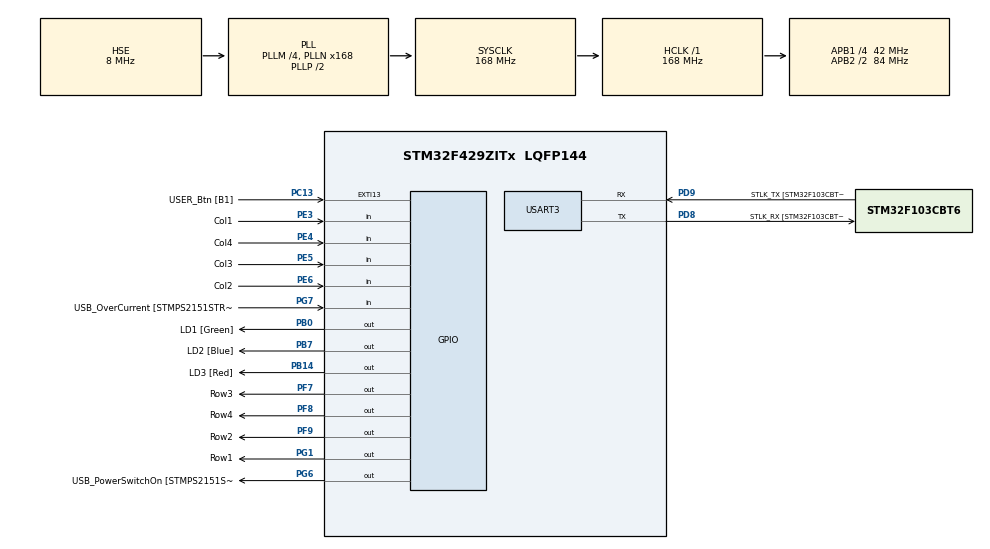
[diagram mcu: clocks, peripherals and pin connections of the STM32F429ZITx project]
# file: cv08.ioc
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Mcu.Family=STM32F4
Mcu.Name=STM32F429ZITx
Mcu.Package=LQFP144
NVIC.PriorityGroup=NVIC_PRIORITYGROUP_4
NVIC.TIM3_IRQn=true\:0\:0\:false\:false\:true\:true\:true\:true
PA1.GPIO_Label=RMII_REF_CLK [LAN8742A-CZ-TR_REFCLK0]
PA1.Signal=ETH_REF_CLK
PA10.GPIO_Label=USB_ID
PA10.Signal=USB_OTG_FS_ID
PA11.GPIO_Label=USB_DM
PA11.Signal=USB_OTG_FS_DM
PA12.GPIO_Label=USB_DP
PA12.Signal=USB_OTG_FS_DP
PA13.GPIO_Label=TMS
PA13.Mode=Serial_Wire
PA13.Signal=SYS_JTMS-SWDIO
PA14.GPIO_Label=TCK
PA14.Mode=Serial_Wire
PA14.Signal=SYS_JTCK-SWCLK
PA2.GPIO_Label=RMII_MDIO [LAN8742A-CZ-TR_MDIO]
PA2.Signal=ETH_MDIO
PA7.GPIO_Label=RMII_CRS_DV [LAN8742A-CZ-TR_CRS_DV]
PA7.Signal=ETH_CRS_DV
PA8.GPIO_Label=USB_SOF [TP1]
PA8.Signal=USB_OTG_FS_SOF
PA9.GPIO_Label=USB_VBUS
PA9.Signal=USB_OTG_FS_VBUS
PB0.GPIO_Label=LD1 [Green]
PB0.GPIO_ModeDefaultOutputPP=GPIO_MODE_OUTPUT_PP
PB0.GPIO_PuPd=GPIO_NOPULL
PB0.Signal=GPIO_Output
PB13.GPIO_Label=RMII_TXD1 [LAN8742A-CZ-TR_TXD1]
PB13.Signal=ETH_TXD1
PB14.GPIO_Label=LD3 [Red]
PB14.Signal=GPIO_Output
PB7.GPIO_Label=LD2 [Blue]
PB7.Signal=GPIO_Output
PC1.GPIO_Label=RMII_MDC [LAN8742A-CZ-TR_MDC]
PC1.Signal=ETH_MDC
PC13.GPIO_Label=USER_Btn [B1]
PC13.Signal=GPXTI13
PC14/OSC32_IN.Mode=LSE-External-Oscillator
PC14/OSC32_IN.Signal=RCC_OSC32_IN
PC15/OSC32_OUT.Mode=LSE-External-Oscillator
PC15/OSC32_OUT.Signal=RCC_OSC32_OUT
PC4.GPIO_Label=RMII_RXD0 [LAN8742A-CZ-TR_RXD0]
PC4.Signal=ETH_RXD0
PC5.GPIO_Label=RMII_RXD1 [LAN8742A-CZ-TR_RXD1]
PC5.Signal=ETH_RXD1
PD8.GPIO_Label=STLK_RX [STM32F103CBT6_PA3]
PD8.Mode=Asynchronous
PD8.Signal=USART3_TX
PD9.GPIO_Label=STLK_TX [STM32F103CBT6_PA2]
PD9.Mode=Asynchronous
PD9.Signal=USART3_RX
PE3.GPIO_Label=Col1
PE3.GPIO_PuPd=GPIO_PULLUP
PE3.Signal=GPIO_Input
PE4.GPIO_Label=Col4
PE4.GPIO_PuPd=GPIO_PULLUP
PE4.Signal=GPIO_Input
PE5.GPIO_Label=Col3
PE5.GPIO_PuPd=GPIO_PULLUP
PE5.Signal=GPIO_Input
PE6.GPIO_Label=Col2
PE6.GPIO_PuPd=GPIO_PULLUP
PE6.Signal=GPIO_Input
PF7.GPIO_Label=Row3
PF7.GPIO_ModeDefaultOutputPP=GPIO_MODE_OUTPUT_OD
PF7.GPIO_PuPd=GPIO_NOPULL
PF7.Signal=GPIO_Output
PF8.GPIO_Label=Row4
PF8.GPIO_ModeDefaultOutputPP=GPIO_MODE_OUTPUT_OD
PF8.GPIO_PuPd=GPIO_NOPULL
PF8.Signal=GPIO_Output
PF9.GPIO_Label=Row2
PF9.GPIO_ModeDefaultOutputPP=GPIO_MODE_OUTPUT_OD
PF9.GPIO_PuPd=GPIO_NOPULL
PF9.Signal=GPIO_Output
PG1.GPIO_Label=Row1
PG1.GPIO_ModeDefaultOutputPP=GPIO_MODE_OUTPUT_OD
PG1.GPIO_PuPd=GPIO_NOPULL
PG1.Signal=GPIO_Output
PG11.GPIO_Label=RMII_TX_EN [LAN8742A-CZ-TR_TXEN]
PG11.Signal=ETH_TX_EN
PG13.GPIO_Label=RMII_TXD0 [LAN8742A-CZ-TR_TXD0]
PG13.Signal=ETH_TXD0
PG6.GPIO_Label=USB_PowerSwitchOn [STMPS2151STR_EN]
PG6.Signal=GPIO_Output
PG7.GPIO_Label=USB_OverCurrent [STMPS2151STR_FAULT]
PG7.Signal=GPIO_Input
PH0/OSC_IN.GPIO_Label=MCO [STM32F103CBT6_PA8]
PH0/OSC_IN.Mode=HSE-External-Clock-Source
PH0/OSC_IN.Signal=RCC_OSC_IN
PH1/OSC_OUT.Mode=HSE-External-Clock-Source
PH1/OSC_OUT.Signal=RCC_OSC_OUT
ProjectManager.HeapSize=0x200
ProjectManager.StackSize=0x400
ProjectManager.TargetToolchain=STM32CubeIDE
RCC.48MHZClocksFreq_Value=48000000
RCC.AHBFreq_Value=168000000
RCC.APB1CLKDivider=RCC_HCLK_DIV4
RCC.APB1Freq_Value=42000000
RCC.APB1TimFreq_Value=84000000
RCC.APB2CLKDivider=RCC_HCLK_DIV2
RCC.APB2Freq_Value=84000000
RCC.APB2TimCLKDivider=2
RCC.APB2TimFreq_Value=168000000
RCC.CortexFreq_Value=168000000
RCC.HCLKFreq_Value=168000000
RCC.HSE_VALUE=8000000
RCC.HSI_VALUE=16000000
RCC.PLLM=4
RCC.PLLMUL=RCC_PLL_MUL9
RCC.PLLN=168
RCC.PLLQ=7
RCC.PLLSourceVirtual=RCC_PLLSOURCE_HSE
RCC.PRESCALERUSB=RCC_USBCLKSOURCE_PLL_DIV1_5
RCC.SYSCLKFreq_VALUE=168000000
RCC.SYSCLKSource=RCC_SYSCLKSOURCE_PLLCLK
RCC.SYSCLKSourceVirtual=RCC_SYSCLKSOURCE_PLLCLK
RCC.USBFreq_Value=48000000
RCC.VCOOutputFreq_Value=336000000
TIM3.AutoReloadPreload=TIM_AUTORELOAD_PRELOAD_ENABLE
TIM3.Period=99
TIM3.Prescaler=8399
USART3.VirtualMode=VM_ASYNC
VP_TIM3_VS_ClockSourceINT.Mode=Internal
board=NUCLEO-F429ZI

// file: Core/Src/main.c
/* USER CODE BEGIN Header */
/**
 ******************************************************************************
 * @file           : main.c
 * @brief          : Main program body
 ******************************************************************************
 * @attention
 *
 * Copyright (c) 2025 STMicroelectronics.
 * All rights reserved.
 *
 * This software is licensed under terms that can be found in the LICENSE file
 * in the root directory of this software component.
 * If no LICENSE file comes with this software, it is provided AS-IS.
 *
 ******************************************************************************
 */
/* USER CODE END Header */
#include "main.h"

/* USER CODE BEGIN Includes */
#include <stdio.h>
/* USER CODE END Includes */

TIM_HandleTypeDef htim3;

UART_HandleTypeDef huart3;

/* USER CODE BEGIN PV */
static volatile char key;
const char code[] = { '7', '9', '3', '2', '#'};
typedef enum  {
	INCORRECT = 0,
	CORRECT_KEY = 1,
	CORRECT_CODE = 2,
	TIMEOUT = 3
} CheckStatus_t;
/* USER CODE END PV */

void SystemClock_Config(void);
static void MX_GPIO_Init(void);
static void MX_USART3_UART_Init(void);
static void MX_TIM3_Init(void);

/* USER CODE BEGIN 0 */

int __io_putchar(int ch)
{
	ITM_SendChar(ch);
	return 0;
}

CheckStatus_t CodeCheck(char key)
{
	static int position = 0;
	static uint32_t timePressed;

	if(code[position] == key)
	{
		if ((position > 0) && ((HAL_GetTick()-timePressed) > 3000))
		{
			position = 0;
			return TIMEOUT;
		}
		else if(position == 4) //CODE OK
		{
			position = 0;
			return CORRECT_CODE;
		}
		else //KEY OK
		{
			position++;
			timePressed = HAL_GetTick();
			return CORRECT_KEY;
		}
	}
	else //NOT OK
	{
		position = 0;
		return INCORRECT;
	}
}

void Correct(void)
{
	HAL_GPIO_WritePin(LD1_GPIO_Port, LD1_Pin, GPIO_PIN_SET);
	HAL_Delay(1000);
	HAL_GPIO_WritePin(LD1_GPIO_Port, LD1_Pin, GPIO_PIN_RESET);
}

/* USER CODE END 0 */

int main(void)
{

	/* MCU Configuration--------------------------------------------------------*/

	/* Reset of all peripherals, Initializes the Flash interface and the Systick. */
	HAL_Init();

	/* Configure the system clock */
	SystemClock_Config();

	/* Initialize all configured peripherals */
	MX_GPIO_Init();
	MX_USART3_UART_Init();
	MX_TIM3_Init();
	/* USER CODE BEGIN 2 */
	HAL_TIM_Base_Start_IT(&htim3);

	CheckStatus_t value;

	/* USER CODE END 2 */

	/* Infinite loop */
	while (1)
	{

		/* USER CODE BEGIN 3 */

		if (key != 0) {
			printf("pressed '%c'\n", key);
			value = CodeCheck(key);
			switch (value)
			{
			case INCORRECT:
				printf("WRONG!!!\n");

				break;
			case CORRECT_KEY:
				printf("ok :)\n");
				break;
			case CORRECT_CODE:
				printf("code correct\n");
				Correct();
				break;
			case TIMEOUT:
				printf("Timed out, repeat.\n");
				break;
			}

			HAL_Delay(500);
			key = 0;
		}
	}
	/* USER CODE END 3 */
}

void SystemClock_Config(void)
{
	RCC_OscInitTypeDef RCC_OscInitStruct = {0};
	RCC_ClkInitTypeDef RCC_ClkInitStruct = {0};

	/** Configure the main internal regulator output voltage
	 */
	__HAL_RCC_PWR_CLK_ENABLE();
	__HAL_PWR_VOLTAGESCALING_CONFIG(PWR_REGULATOR_VOLTAGE_SCALE1);

	/** Initializes the RCC Oscillators according to the specified parameters
	 * in the RCC_OscInitTypeDef structure.
	 */
	RCC_OscInitStruct.OscillatorType = RCC_OSCILLATORTYPE_HSE;
	RCC_OscInitStruct.HSEState = RCC_HSE_BYPASS;
	RCC_OscInitStruct.PLL.PLLState = RCC_PLL_ON;
	RCC_OscInitStruct.PLL.PLLSource = RCC_PLLSOURCE_HSE;
	RCC_OscInitStruct.PLL.PLLM = 4;
	RCC_OscInitStruct.PLL.PLLN = 168;
	RCC_OscInitStruct.PLL.PLLP = RCC_PLLP_DIV2;
	RCC_OscInitStruct.PLL.PLLQ = 7;
	if (HAL_RCC_OscConfig(&RCC_OscInitStruct) != HAL_OK)
	{
		Error_Handler();
	}

	/** Initializes the CPU, AHB and APB buses clocks
	 */
	RCC_ClkInitStruct.ClockType = RCC_CLOCKTYPE_HCLK|RCC_CLOCKTYPE_SYSCLK
			|RCC_CLOCKTYPE_PCLK1|RCC_CLOCKTYPE_PCLK2;
	RCC_ClkInitStruct.SYSCLKSource = RCC_SYSCLKSOURCE_PLLCLK;
	RCC_ClkInitStruct.AHBCLKDivider = RCC_SYSCLK_DIV1;
	RCC_ClkInitStruct.APB1CLKDivider = RCC_HCLK_DIV4;
	RCC_ClkInitStruct.APB2CLKDivider = RCC_HCLK_DIV2;

	if (HAL_RCC_ClockConfig(&RCC_ClkInitStruct, FLASH_LATENCY_5) != HAL_OK)
	{
		Error_Handler();
	}
}

static void MX_TIM3_Init(void)
{

	TIM_ClockConfigTypeDef sClockSourceConfig = {0};
	TIM_MasterConfigTypeDef sMasterConfig = {0};

	htim3.Instance = TIM3;
	htim3.Init.Prescaler = 8399;
	htim3.Init.CounterMode = TIM_COUNTERMODE_UP;
	htim3.Init.Period = 99;
	htim3.Init.ClockDivision = TIM_CLOCKDIVISION_DIV1;
	htim3.Init.AutoReloadPreload = TIM_AUTORELOAD_PRELOAD_ENABLE;
	if (HAL_TIM_Base_Init(&htim3) != HAL_OK)
	{
		Error_Handler();
	}
	sClockSourceConfig.ClockSource = TIM_CLOCKSOURCE_INTERNAL;
	if (HAL_TIM_ConfigClockSource(&htim3, &sClockSourceConfig) != HAL_OK)
	{
		Error_Handler();
	}
	sMasterConfig.MasterOutputTrigger = TIM_TRGO_RESET;
	sMasterConfig.MasterSlaveMode = TIM_MASTERSLAVEMODE_DISABLE;
	if (HAL_TIMEx_MasterConfigSynchronization(&htim3, &sMasterConfig) != HAL_OK)
	{
		Error_Handler();
	}

}

static void MX_USART3_UART_Init(void)
{

	huart3.Instance = USART3;
	huart3.Init.BaudRate = 115200;
	huart3.Init.WordLength = UART_WORDLENGTH_8B;
	huart3.Init.StopBits = UART_STOPBITS_1;
	huart3.Init.Parity = UART_PARITY_NONE;
	huart3.Init.Mode = UART_MODE_TX_RX;
	huart3.Init.HwFlowCtl = UART_HWCONTROL_NONE;
	huart3.Init.OverSampling = UART_OVERSAMPLING_16;
	if (HAL_UART_Init(&huart3) != HAL_OK)
	{
		Error_Handler();
	}

}

static void MX_GPIO_Init(void)
{
	GPIO_InitTypeDef GPIO_InitStruct = {0};

	/* GPIO Ports Clock Enable */
	__HAL_RCC_GPIOE_CLK_ENABLE();
	__HAL_RCC_GPIOC_CLK_ENABLE();
	__HAL_RCC_GPIOF_CLK_ENABLE();
	__HAL_RCC_GPIOH_CLK_ENABLE();
	__HAL_RCC_GPIOA_CLK_ENABLE();
	__HAL_RCC_GPIOB_CLK_ENABLE();
	__HAL_RCC_GPIOG_CLK_ENABLE();
	__HAL_RCC_GPIOD_CLK_ENABLE();

	/*Configure GPIO pin Output Level */
	HAL_GPIO_WritePin(GPIOF, Row3_Pin|Row4_Pin|Row2_Pin, GPIO_PIN_RESET);

	/*Configure GPIO pin Output Level */
	HAL_GPIO_WritePin(GPIOB, LD1_Pin|LD3_Pin|LD2_Pin, GPIO_PIN_RESET);

	/*Configure GPIO pin Output Level */
	HAL_GPIO_WritePin(GPIOG, Row1_Pin|USB_PowerSwitchOn_Pin, GPIO_PIN_RESET);

	/*Configure GPIO pins : Col1_Pin Col4_Pin Col3_Pin Col2_Pin */
	GPIO_InitStruct.Pin = Col1_Pin|Col4_Pin|Col3_Pin|Col2_Pin;
	GPIO_InitStruct.Mode = GPIO_MODE_INPUT;
	GPIO_InitStruct.Pull = GPIO_PULLUP;
	HAL_GPIO_Init(GPIOE, &GPIO_InitStruct);

	/*Configure GPIO pin : USER_Btn_Pin */
	GPIO_InitStruct.Pin = USER_Btn_Pin;
	GPIO_InitStruct.Mode = GPIO_MODE_IT_RISING;
	GPIO_InitStruct.Pull = GPIO_NOPULL;
	HAL_GPIO_Init(USER_Btn_GPIO_Port, &GPIO_InitStruct);

	/*Configure GPIO pins : Row3_Pin Row4_Pin Row2_Pin */
	GPIO_InitStruct.Pin = Row3_Pin|Row4_Pin|Row2_Pin;
	GPIO_InitStruct.Mode = GPIO_MODE_OUTPUT_OD;
	GPIO_InitStruct.Pull = GPIO_NOPULL;
	GPIO_InitStruct.Speed = GPIO_SPEED_FREQ_LOW;
	HAL_GPIO_Init(GPIOF, &GPIO_InitStruct);

	/*Configure GPIO pins : RMII_MDC_Pin RMII_RXD0_Pin RMII_RXD1_Pin */
	GPIO_InitStruct.Pin = RMII_MDC_Pin|RMII_RXD0_Pin|RMII_RXD1_Pin;
	GPIO_InitStruct.Mode = GPIO_MODE_AF_PP;
	GPIO_InitStruct.Pull = GPIO_NOPULL;
	GPIO_InitStruct.Speed = GPIO_SPEED_FREQ_VERY_HIGH;
	GPIO_InitStruct.Alternate = GPIO_AF11_ETH;
	HAL_GPIO_Init(GPIOC, &GPIO_InitStruct);

	/*Configure GPIO pins : RMII_REF_CLK_Pin RMII_MDIO_Pin RMII_CRS_DV_Pin */
	GPIO_InitStruct.Pin = RMII_REF_CLK_Pin|RMII_MDIO_Pin|RMII_CRS_DV_Pin;
	GPIO_InitStruct.Mode = GPIO_MODE_AF_PP;
	GPIO_InitStruct.Pull = GPIO_NOPULL;
	GPIO_InitStruct.Speed = GPIO_SPEED_FREQ_VERY_HIGH;
	GPIO_InitStruct.Alternate = GPIO_AF11_ETH;
	HAL_GPIO_Init(GPIOA, &GPIO_InitStruct);

	/*Configure GPIO pins : LD1_Pin LD3_Pin LD2_Pin */
	GPIO_InitStruct.Pin = LD1_Pin|LD3_Pin|LD2_Pin;
	GPIO_InitStruct.Mode = GPIO_MODE_OUTPUT_PP;
	GPIO_InitStruct.Pull = GPIO_NOPULL;
	GPIO_InitStruct.Speed = GPIO_SPEED_FREQ_LOW;
	HAL_GPIO_Init(GPIOB, &GPIO_InitStruct);

	/*Configure GPIO pin : Row1_Pin */
	GPIO_InitStruct.Pin = Row1_Pin;
	GPIO_InitStruct.Mode = GPIO_MODE_OUTPUT_OD;
	GPIO_InitStruct.Pull = GPIO_NOPULL;
	GPIO_InitStruct.Speed = GPIO_SPEED_FREQ_LOW;
	HAL_GPIO_Init(Row1_GPIO_Port, &GPIO_InitStruct);

	/*Configure GPIO pin : RMII_TXD1_Pin */
	GPIO_InitStruct.Pin = RMII_TXD1_Pin;
	GPIO_InitStruct.Mode = GPIO_MODE_AF_PP;
	GPIO_InitStruct.Pull = GPIO_NOPULL;
	GPIO_InitStruct.Speed = GPIO_SPEED_FREQ_VERY_HIGH;
	GPIO_InitStruct.Alternate = GPIO_AF11_ETH;
	HAL_GPIO_Init(RMII_TXD1_GPIO_Port, &GPIO_InitStruct);

	/*Configure GPIO pin : USB_PowerSwitchOn_Pin */
	GPIO_InitStruct.Pin = USB_PowerSwitchOn_Pin;
	GPIO_InitStruct.Mode = GPIO_MODE_OUTPUT_PP;
	GPIO_InitStruct.Pull = GPIO_NOPULL;
	GPIO_InitStruct.Speed = GPIO_SPEED_FREQ_LOW;
	HAL_GPIO_Init(USB_PowerSwitchOn_GPIO_Port, &GPIO_InitStruct);

	/*Configure GPIO pin : USB_OverCurrent_Pin */
	GPIO_InitStruct.Pin = USB_OverCurrent_Pin;
	GPIO_InitStruct.Mode = GPIO_MODE_INPUT;
	GPIO_InitStruct.Pull = GPIO_NOPULL;
	HAL_GPIO_Init(USB_OverCurrent_GPIO_Port, &GPIO_InitStruct);

	/*Configure GPIO pins : USB_SOF_Pin USB_ID_Pin USB_DM_Pin USB_DP_Pin */
	GPIO_InitStruct.Pin = USB_SOF_Pin|USB_ID_Pin|USB_DM_Pin|USB_DP_Pin;
	GPIO_InitStruct.Mode = GPIO_MODE_AF_PP;
	GPIO_InitStruct.Pull = GPIO_NOPULL;
	GPIO_InitStruct.Speed = GPIO_SPEED_FREQ_VERY_HIGH;
	GPIO_InitStruct.Alternate = GPIO_AF10_OTG_FS;
	HAL_GPIO_Init(GPIOA, &GPIO_InitStruct);

	/*Configure GPIO pin : USB_VBUS_Pin */
	GPIO_InitStruct.Pin = USB_VBUS_Pin;
	GPIO_InitStruct.Mode = GPIO_MODE_INPUT;
	GPIO_InitStruct.Pull = GPIO_NOPULL;
	HAL_GPIO_Init(USB_VBUS_GPIO_Port, &GPIO_InitStruct);

	/*Configure GPIO pins : RMII_TX_EN_Pin RMII_TXD0_Pin */
	GPIO_InitStruct.Pin = RMII_TX_EN_Pin|RMII_TXD0_Pin;
	GPIO_InitStruct.Mode = GPIO_MODE_AF_PP;
	GPIO_InitStruct.Pull = GPIO_NOPULL;
	GPIO_InitStruct.Speed = GPIO_SPEED_FREQ_VERY_HIGH;
	GPIO_InitStruct.Alternate = GPIO_AF11_ETH;
	HAL_GPIO_Init(GPIOG, &GPIO_InitStruct);

}

/* USER CODE BEGIN 4 */
void HAL_TIM_PeriodElapsedCallback(TIM_HandleTypeDef *htim)
{
	static uint8_t row = 0;
	static const char keyboard[4][4] = {
			{ '1', '2', '3', 'A' },
			{ '4', '5', '6', 'B' },
			{ '7', '8', '9', 'C' },
			{ '*', '0', '#', 'D' },
	};
	if (key == 0) {
		if (HAL_GPIO_ReadPin(Col1_GPIO_Port, Col1_Pin) == GPIO_PIN_RESET) {
			key = keyboard[row][0];
		}
		if (HAL_GPIO_ReadPin(Col2_GPIO_Port, Col2_Pin) == GPIO_PIN_RESET) {
			key = keyboard[row][1];
		}
		if (HAL_GPIO_ReadPin(Col3_GPIO_Port, Col3_Pin) == GPIO_PIN_RESET) {
			key = keyboard[row][2];
		}
		if (HAL_GPIO_ReadPin(Col4_GPIO_Port, Col4_Pin) == GPIO_PIN_RESET) {
			key = keyboard[row][3];
		}
	}
	HAL_GPIO_WritePin(Row1_GPIO_Port, Row1_Pin, GPIO_PIN_SET);
	HAL_GPIO_WritePin(Row2_GPIO_Port, Row2_Pin, GPIO_PIN_SET);
	HAL_GPIO_WritePin(Row3_GPIO_Port, Row3_Pin, GPIO_PIN_SET);
	HAL_GPIO_WritePin(Row4_GPIO_Port, Row4_Pin, GPIO_PIN_SET);
	switch (row) {
	case 0:
		row = 1;
		HAL_GPIO_WritePin(Row2_GPIO_Port, Row2_Pin, GPIO_PIN_RESET);
		break;
	case 1:
		row = 2;
		HAL_GPIO_WritePin(Row3_GPIO_Port, Row3_Pin, GPIO_PIN_RESET);
		break;
	case 2:
		row = 3;
		HAL_GPIO_WritePin(Row4_GPIO_Port, Row4_Pin, GPIO_PIN_RESET);
		break;
	case 3:
		row = 0;
		HAL_GPIO_WritePin(Row1_GPIO_Port, Row1_Pin, GPIO_PIN_RESET);
		break;
	}
}
/* USER CODE END 4 */

void Error_Handler(void)
{
	__disable_irq();
	while (1)
	{
	}
}
